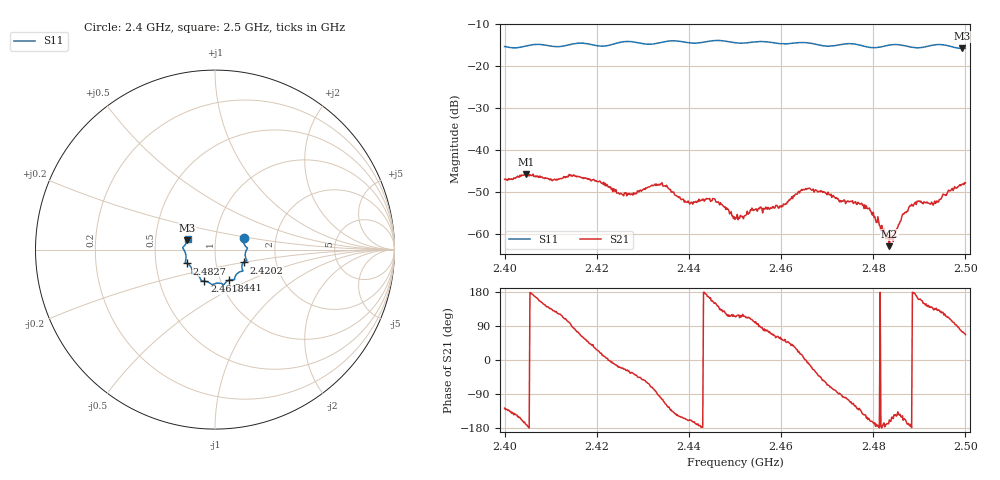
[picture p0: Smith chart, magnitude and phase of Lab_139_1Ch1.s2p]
# Hz S RI R 50
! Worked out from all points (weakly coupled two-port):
!   601 points, 2.4 GHz to 2.5 GHz, reference 50 ohm
!   highest |S21| = -45.63 dB at 2.4047 GHz (marker M1); lowest = -62.8 dB at 2.4835 GHz (marker M2)
!   lowest |S11| = -15.8 dB at 2.4993 GHz (marker M3), VSWR 1.39, Z = 36.5 + j3.82 ohm
!   |S11| at or under -10 dB: start of sweep to end of sweep
!   S12 and S22 are empty: the file has one direction only
!   S11 on the Smith chart (normalised r, x): 2.4 GHz: 1.36, +0.18; 2.4202 GHz: 1.36, -0.20; 2.441 GHz: 1.10, -0.39; 2.4618 GHz: 0.84, -0.30; 2.4827 GHz: 0.72, -0.11; 2.5 GHz: 0.73, +0.09
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2.4e9  0.159 0.0628  -0.00272 -0.00361  0 0  0 0
2.404667e9  0.1728 0.0158  -0.00515 -0.000889  0 0  0 0
2.416667e9  0.1774 -0.0609  0.00214 0.0042  0 0  0 0
2.420167e9  0.1589 -0.0716  0.00382 0.00184  0 0  0 0
2.425333e9  0.1548 -0.1152  0.00284 -0.00113  0 0  0 0
2.433333e9  0.1117 -0.1508  -0.000154 -0.00387  0 0  0 0
2.441e9  0.0789 -0.17  -0.00234 -0.000687  0 0  0 0
2.445667e9  0.0506 -0.1948  -0.00228 0.00126  0 0  0 0
2.45e9  0.0285 -0.1876  -0.000643 0.00137  0 0  0 0
2.459833e9  -0.0393 -0.1806  0.00108 0.00189  0 0  0 0
2.461833e9  -0.0589 -0.1757  0.00182 0.00177  0 0  0 0
2.466667e9  -0.079 -0.1684  0.00315 -0.00112  0 0  0 0
2.478667e9  -0.1288 -0.1093  -0.00179 -0.000988  0 0  0 0
2.482667e9  -0.1559 -0.0771  -0.000946 -0.000148  0 0  0 0
2.483333e9  -0.1602 -0.0751  -0.000843 -0.000175  0 0  0 0
2.4835e9  -0.1613 -0.0748  -0.000673 -0.000271  0 0  0 0
2.484e9  -0.1634 -0.0736  -0.00077 -0.000425  0 0  0 0
2.486333e9  -0.1646 -0.0651  -0.00144 -0.000927  0 0  0 0
2.488167e9  -0.1615 -0.0479  -0.00215 -0.000395  0 0  0 0
2.4935e9  -0.1791 0.00746  -0.00162 0.00168  0 0  0 0
2.499333e9  -0.1538 0.0509  0.0011 0.00379  0 0  0 0
2.5e9  -0.152 0.0601  0.00159 0.00377  0 0  0 0
